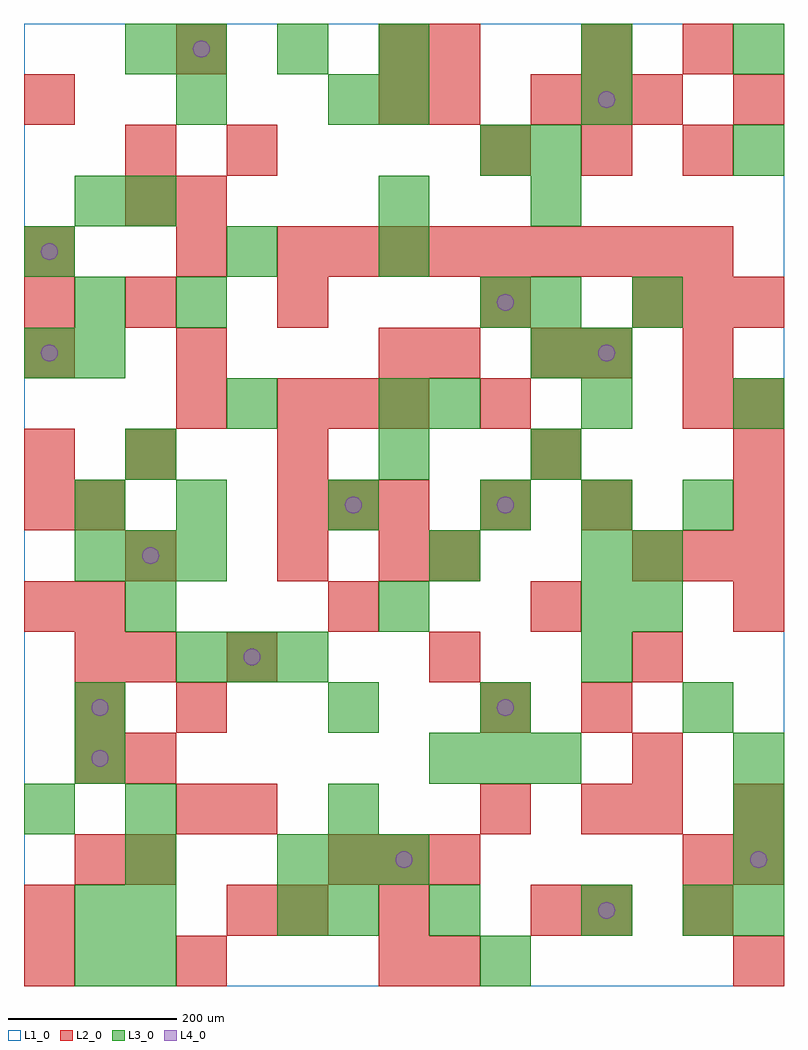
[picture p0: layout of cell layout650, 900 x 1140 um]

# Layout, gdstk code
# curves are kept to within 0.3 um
import gdstk
lib = gdstk.Library(unit=1e-6, precision=1e-09)
def R(c, l, rs):  # rectangles x0, y0, x1, y1
    for r in rs: c.add(gdstk.rectangle(r[:2], r[2:], *l))
def A(c, l, x, y, w, h, nx, ny, dx, dy):  # array of equal rectangles
    R(c, l, [(x+i*dx, y+j*dy, x+i*dx+w, y+j*dy+h) for i in range(nx) for j in range(ny)])
def P(c, l, *ps):  # polygons
    for p in ps: c.add(gdstk.Polygon(p, *l))
L1_0 = (1, 0)
L2_0 = (2, 0)
L3_0 = (3, 0)
L4_0 = (4, 0)

layout650 = lib.new_cell('layout650')
R(layout650, L1_0, [(0,0,900,1140)])
A(layout650, L2_0, 660, 60, 60, 60, 1, 3, 0, 120)
A(layout650, L2_0, 120, 120, 60, 60, 1, 5, 0, 120)
A(layout650, L2_0, 360, 120, 60, 60, 3, 1, 60, 0)
A(layout650, L2_0, 60, 240, 60, 60, 1, 4, 0, 60)
A(layout650, L2_0, 240, 360, 60, 60, 3, 1, 240, 0)
A(layout650, L2_0, 360, 420, 60, 60, 3, 1, 240, 0)
A(layout650, L2_0, 720, 480, 60, 60, 3, 2, 60, 300)
A(layout650, L2_0, 300, 540, 60, 60, 3, 2, 60, 120)
A(layout650, L2_0, 540, 540, 60, 60, 1, 3, 0, 120)
A(layout650, L2_0, 840, 540, 60, 60, 1, 3, 0, 60)
A(layout650, L2_0, 0, 720, 60, 60, 1, 3, 0, 60)
A(layout650, L2_0, 300, 840, 60, 60, 9, 1, 60, 0)
A(layout650, L2_0, 540, 960, 60, 60, 3, 1, 120, 0)
A(layout650, L2_0, 600, 1020, 60, 60, 3, 1, 60, 0)
R(layout650, L2_0, [(0,0,60,60), (180,0,240,60), (420,0,480,60), (480,0,540,60), (840,0,900,60), (0,60,60,120), (240,60,300,120), (300,60,360,120), (420,60,480,120), (600,60,660,120), (780,60,840,120), (60,120,120,180), (780,120,840,180), (840,120,900,180), (180,180,240,240), (240,180,300,240), (540,180,600,240), (720,180,780,240), (840,180,900,240), (720,240,780,300), (180,300,240,360), (540,300,600,360), (0,420,60,480), (300,480,360,540), (420,480,480,540), (480,480,540,540), (0,540,60,600), (60,540,120,600), (660,540,720,600), (0,600,60,660), (300,600,360,660), (600,600,660,660), (180,660,240,720), (780,660,840,720), (180,720,240,780), (420,720,480,780), (480,720,540,780), (600,720,660,780), (660,720,720,780), (780,720,840,780), (120,780,180,840), (300,780,360,840), (180,840,240,900), (120,900,180,960), (180,900,240,960), (120,960,180,1020), (240,960,300,1020), (0,1020,60,1080), (420,1020,480,1080), (480,1020,540,1080), (840,1020,900,1080), (180,1080,240,1140), (420,1080,480,1140), (480,1080,540,1140), (660,1080,720,1140), (780,1080,840,1140)])
A(layout650, L3_0, 120, 0, 60, 60, 1, 4, 0, 60)
A(layout650, L3_0, 360, 60, 60, 60, 1, 3, 0, 120)
A(layout650, L3_0, 780, 60, 60, 60, 1, 3, 0, 240)
A(layout650, L3_0, 840, 60, 60, 60, 1, 4, 0, 60)
A(layout650, L3_0, 300, 120, 60, 60, 3, 1, 60, 0)
A(layout650, L3_0, 480, 240, 60, 60, 3, 1, 60, 0)
A(layout650, L3_0, 180, 360, 60, 60, 3, 1, 60, 0)
A(layout650, L3_0, 660, 360, 60, 60, 1, 4, 0, 60)
A(layout650, L3_0, 60, 480, 60, 60, 3, 1, 60, 0)
A(layout650, L3_0, 180, 540, 60, 60, 3, 1, 180, 0)
A(layout650, L3_0, 480, 660, 60, 60, 3, 1, 180, 0)
A(layout650, L3_0, 180, 1080, 60, 60, 3, 1, 120, 0)
R(layout650, L3_0, [(60,0,120,60), (540,0,600,60), (60,60,120,120), (300,60,360,120), (480,60,540,120), (660,60,720,120), (0,180,60,240), (60,240,120,300), (60,300,120,360), (540,300,600,360), (120,420,180,480), (420,420,480,480), (720,420,780,480), (480,480,540,540), (720,480,780,540), (60,540,120,600), (120,600,180,660), (420,600,480,660), (600,600,660,660), (240,660,300,720), (420,660,480,720), (0,720,60,780), (60,720,120,780), (600,720,660,780), (660,720,720,780), (60,780,120,840), (180,780,240,840), (540,780,600,840), (600,780,660,840), (720,780,780,840), (0,840,60,900), (240,840,300,900), (420,840,480,900), (60,900,120,960), (120,900,180,960), (420,900,480,960), (600,900,660,960), (540,960,600,1020), (600,960,660,1020), (840,960,900,1020), (180,1020,240,1080), (360,1020,420,1080), (420,1020,480,1080), (660,1020,720,1080), (120,1080,180,1140), (660,1080,720,1140), (840,1080,900,1140)])
P(layout650, L4_0, [(40,750),(39.239,753.827),(37.071,757.071),(33.827,759.239),(30,760),(26.173,759.239),(22.929,757.071),(20.761,753.827),(20,750),(20.761,746.173),(22.929,742.929),(26.173,740.761),(30,740),(33.827,740.761),(37.071,742.929),(39.239,746.173)],
  [(40,870),(39.239,873.827),(37.071,877.071),(33.827,879.239),(30,880),(26.173,879.239),(22.929,877.071),(20.761,873.827),(20,870),(20.761,866.173),(22.929,862.929),(26.173,860.761),(30,860),(33.827,860.761),(37.071,862.929),(39.239,866.173)],
  [(100,270),(99.239,273.827),(97.071,277.071),(93.827,279.239),(90,280),(86.173,279.239),(82.929,277.071),(80.761,273.827),(80,270),(80.761,266.173),(82.929,262.929),(86.173,260.761),(90,260),(93.827,260.761),(97.071,262.929),(99.239,266.173)],
  [(100,330),(99.239,333.827),(97.071,337.071),(93.827,339.239),(90,340),(86.173,339.239),(82.929,337.071),(80.761,333.827),(80,330),(80.761,326.173),(82.929,322.929),(86.173,320.761),(90,320),(93.827,320.761),(97.071,322.929),(99.239,326.173)],
  [(160,510),(159.239,513.827),(157.071,517.071),(153.827,519.239),(150,520),(146.173,519.239),(142.929,517.071),(140.761,513.827),(140,510),(140.761,506.173),(142.929,502.929),(146.173,500.761),(150,500),(153.827,500.761),(157.071,502.929),(159.239,506.173)],
  [(220,1110),(219.239,1113.827),(217.071,1117.071),(213.827,1119.239),(210,1120),(206.173,1119.239),(202.929,1117.071),(200.761,1113.827),(200,1110),(200.761,1106.173),(202.929,1102.929),(206.173,1100.761),(210,1100),(213.827,1100.761),(217.071,1102.929),(219.239,1106.173)],
  [(280,390),(279.239,393.827),(277.071,397.071),(273.827,399.239),(270,400),(266.173,399.239),(262.929,397.071),(260.761,393.827),(260,390),(260.761,386.173),(262.929,382.929),(266.173,380.761),(270,380),(273.827,380.761),(277.071,382.929),(279.239,386.173)],
  [(400,570),(399.239,573.827),(397.071,577.071),(393.827,579.239),(390,580),(386.173,579.239),(382.929,577.071),(380.761,573.827),(380,570),(380.761,566.173),(382.929,562.929),(386.173,560.761),(390,560),(393.827,560.761),(397.071,562.929),(399.239,566.173)],
  [(460,150),(459.239,153.827),(457.071,157.071),(453.827,159.239),(450,160),(446.173,159.239),(442.929,157.071),(440.761,153.827),(440,150),(440.761,146.173),(442.929,142.929),(446.173,140.761),(450,140),(453.827,140.761),(457.071,142.929),(459.239,146.173)],
  [(580,330),(579.239,333.827),(577.071,337.071),(573.827,339.239),(570,340),(566.173,339.239),(562.929,337.071),(560.761,333.827),(560,330),(560.761,326.173),(562.929,322.929),(566.173,320.761),(570,320),(573.827,320.761),(577.071,322.929),(579.239,326.173)],
  [(580,570),(579.239,573.827),(577.071,577.071),(573.827,579.239),(570,580),(566.173,579.239),(562.929,577.071),(560.761,573.827),(560,570),(560.761,566.173),(562.929,562.929),(566.173,560.761),(570,560),(573.827,560.761),(577.071,562.929),(579.239,566.173)],
  [(580,810),(579.239,813.827),(577.071,817.071),(573.827,819.239),(570,820),(566.173,819.239),(562.929,817.071),(560.761,813.827),(560,810),(560.761,806.173),(562.929,802.929),(566.173,800.761),(570,800),(573.827,800.761),(577.071,802.929),(579.239,806.173)],
  [(700,90),(699.239,93.827),(697.071,97.071),(693.827,99.239),(690,100),(686.173,99.239),(682.929,97.071),(680.761,93.827),(680,90),(680.761,86.173),(682.929,82.929),(686.173,80.761),(690,80),(693.827,80.761),(697.071,82.929),(699.239,86.173)],
  [(700,750),(699.239,753.827),(697.071,757.071),(693.827,759.239),(690,760),(686.173,759.239),(682.929,757.071),(680.761,753.827),(680,750),(680.761,746.173),(682.929,742.929),(686.173,740.761),(690,740),(693.827,740.761),(697.071,742.929),(699.239,746.173)],
  [(700,1050),(699.239,1053.827),(697.071,1057.071),(693.827,1059.239),(690,1060),(686.173,1059.239),(682.929,1057.071),(680.761,1053.827),(680,1050),(680.761,1046.173),(682.929,1042.929),(686.173,1040.761),(690,1040),(693.827,1040.761),(697.071,1042.929),(699.239,1046.173)],
  [(880,150),(879.239,153.827),(877.071,157.071),(873.827,159.239),(870,160),(866.173,159.239),(862.929,157.071),(860.761,153.827),(860,150),(860.761,146.173),(862.929,142.929),(866.173,140.761),(870,140),(873.827,140.761),(877.071,142.929),(879.239,146.173)])

lib.write_gds('layout650.gds')
